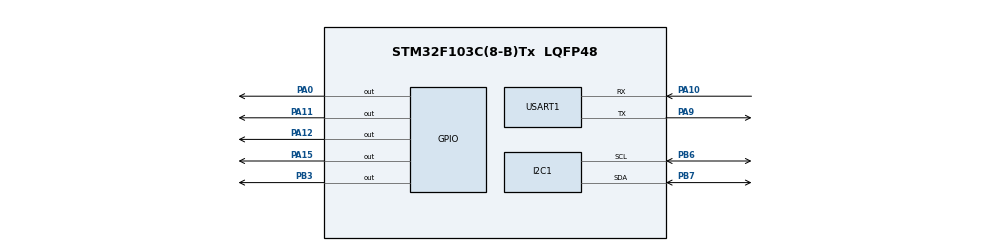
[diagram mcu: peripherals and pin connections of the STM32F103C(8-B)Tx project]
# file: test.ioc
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Dma.Request0=USART1_RX
Dma.USART1_RX.0.Direction=DMA_PERIPH_TO_MEMORY
Dma.USART1_RX.0.Instance=DMA1_Channel5
Dma.USART1_RX.0.MemDataAlignment=DMA_MDATAALIGN_BYTE
Dma.USART1_RX.0.MemInc=DMA_MINC_ENABLE
Dma.USART1_RX.0.Mode=DMA_NORMAL
Dma.USART1_RX.0.PeriphDataAlignment=DMA_PDATAALIGN_BYTE
Dma.USART1_RX.0.PeriphInc=DMA_PINC_DISABLE
Dma.USART1_RX.0.Priority=DMA_PRIORITY_LOW
Mcu.Family=STM32F1
Mcu.Name=STM32F103C(8-B)Tx
Mcu.Package=LQFP48
NVIC.DMA1_Channel5_IRQn=true\:0\:0\:false\:false\:true\:false\:true\:true
NVIC.PriorityGroup=NVIC_PRIORITYGROUP_4
NVIC.TIM2_IRQn=true\:0\:0\:false\:false\:true\:true\:true\:true
PA0-WKUP.Signal=GPIO_Output
PA10.Mode=Asynchronous
PA10.Signal=USART1_RX
PA11.Signal=GPIO_Output
PA12.Signal=GPIO_Output
PA15.Signal=GPIO_Output
PA9.Mode=Asynchronous
PA9.Signal=USART1_TX
PB3.Signal=GPIO_Output
PB6.Mode=I2C
PB6.Signal=I2C1_SCL
PB7.Mode=I2C
PB7.Signal=I2C1_SDA
ProjectManager.HeapSize=0x200
ProjectManager.StackSize=0x400
ProjectManager.TargetToolchain=MDK-ARM V5.32
RCC.APB1Freq_Value=8000000
RCC.APB2Freq_Value=8000000
TIM2.AutoReloadPreload=TIM_AUTORELOAD_PRELOAD_ENABLE
TIM2.Period=499
TIM2.Prescaler=7199
USART1.VirtualMode=VM_ASYNC
VP_SYS_VS_ND.Mode=No_Debug
VP_TIM2_VS_ClockSourceINT.Mode=Internal
board=custom

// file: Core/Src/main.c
/* USER CODE BEGIN Header */
/**
  ******************************************************************************
  * @file           : main.c
  * @brief          : Main program body
  ******************************************************************************
  * @attention
  *
  * Copyright (c) 2026 STMicroelectronics.
  * All rights reserved.
  *
  * This software is licensed under terms that can be found in the LICENSE file
  * in the root directory of this software component.
  * If no LICENSE file comes with this software, it is provided AS-IS.
  *
  ******************************************************************************
  */
/* USER CODE END Header */
#include "main.h"
#include "dma.h"
#include "i2c.h"
#include "tim.h"
#include "usart.h"
#include "gpio.h"

/* USER CODE BEGIN Includes */
#include "led.h"
#include "ring_buffer.h"       //FIFO
#include "frame_parser.h"      // 帧解析状态机
#include "crc16.h"             // CRC16-Modbus 计算
#include "sht30.h"
#include "modbus_slave.h"
/* USER CODE END Includes */

/* USER CODE BEGIN PV */
uint8_t rx_buf[256];                    //DMA 接收缓冲区
volatile uint8_t rx_idle_flag = 0;      //空闲中断触发标志
FrameParser_t my_parser;                //帧解析器,存储当前正在组装的一帧的临时数据
ring_buffer_t rx_rb;                    //FIFO中缓存DMA的元素
/* USER CODE END PV */

void SystemClock_Config(void);
/* USER CODE BEGIN PFP */
void MX_GPIO_Init(void);
void MX_DMA_Init(void);
void MX_USART1_UART_Init(void);

/* USER CODE END PFP */

int main(void)
{

  /* MCU Configuration--------------------------------------------------------*/

  /* Reset of all peripherals, Initializes the Flash interface and the Systick. */
  HAL_Init();

  /* Configure the system clock */
  SystemClock_Config();

  /* Initialize all configured peripherals */

  MX_GPIO_Init();
  MX_DMA_Init();
  MX_USART1_UART_Init();
  MX_TIM2_Init();
  MX_I2C1_Init();
  /* USER CODE BEGIN 2 */
	HAL_UART_Receive_DMA(&huart1, rx_buf, 256); // 启动 DMA 接收，缓冲区 rx_buf
	__HAL_UART_ENABLE_IT(&huart1, UART_IT_IDLE); //使能 USART1 空闲中断，检测一帧数据接收完毕
	HAL_NVIC_SetPriority(USART1_IRQn, 0, 0);    //中断优先级
	HAL_NVIC_EnableIRQ(USART1_IRQn);
	rb_init(&rx_rb);                       // 初始化FIFO
	parser_init(&my_parser);               // 初始化帧解析器
	HAL_TIM_Base_Start_IT(&htim2);         //启动 TIM2 定时器中断，接收数据时使能

	D1_OFF;
	D2_OFF;
	D3_OFF;
	D4_OFF;

	float temp = 0.0f, hum = 0.0f;
	uint8_t ret;

	ret = sht30_init();
	printf("SHT30 init: %d\r\n", ret);

	ret = sht30_read_single_shot(&temp, &hum);
	if (ret == 0) {
			printf("Temp: %.2f°C, Hum: %.2f%%\r\n", temp, hum);
	} else {
			printf("SHT30 read error: %d\r\n", ret);
	}

  /* USER CODE END 2 */

  /* Infinite loop */
  while (1)
  {

    /* USER CODE BEGIN 3 */

		if (rx_idle_flag == 1)
		{
				rx_idle_flag = 0;
				uint8_t byte;
				uint8_t tx_buf[64];
				uint8_t tx_len = 0;

				while (rb_get(&rx_rb, &byte) == 1)
				{
						if (parser_feed(&my_parser, byte) == true)
						{
								// 处理 Modbus 请求，构造响应帧
								modbus_process_request(&my_parser, tx_buf, &tx_len);

								// 如果有响应，发回给 Modbus Poll
								if (tx_len > 0) {
										HAL_UART_Transmit(&huart1, tx_buf, tx_len, 100);
								}
						}
				}
		}

		static uint32_t last_tick = 0;
  if (HAL_GetTick() - last_tick >= 1000) {
      last_tick = HAL_GetTick();
      float temp, hum;
      if (sht30_read_single_shot(&temp, &hum) == 0) {
          int16_t temp_int = (int16_t)(temp * 10);  // 30.86°C → 308
          holding_regs[0] = (temp_int >> 8) & 0xFF;  // 0x0000 = 温度高字节
          holding_regs[1] = temp_int & 0xFF;         // 0x0001 = 温度低字节
      }
  }

//		  if (rx_idle_flag == 1)
//    {
//        rx_idle_flag = 0;                 //清除标志，允许接收下一帧
//        uint8_t byte;

////				float temp, hum;
////				if (sht30_read_single_shot(&temp, &hum) == 0)
////				{
////						printf("Temp: %.2f C, Hum: %.2f %%\r\n", temp, hum);
////				}
////				HAL_Delay(1000);  // 每秒读一次
//
//
//        // 从环形缓冲区中取出所有字节，逐个喂给状态机
//        while (rb_get(&rx_rb, &byte) == 1)
//        {
//// parser_feed 返回 true 表示已组装完成一帧完整数据（地址+功能码+长度+数据+CRC）
//					if (parser_feed(&my_parser, byte) == true)
//						{
//								// 把收到的 CRC 组合为一个 16 位值
//								uint16_t rx_crc = ((uint16_t)my_parser.crc_high << 8) | my_parser.crc_low;

//								// 计算本帧 CRC
//								uint16_t calc_crc = crc16_modbus_frame(my_parser.addr, my_parser.func, my_parser.len, my_parser.data);

//								//调试打印
//								char dbg[64];
//								int n = sprintf(dbg, "RX_CRC=0x%04X  CALC=0x%04X\r\n", rx_crc, calc_crc);
//								HAL_UART_Transmit(&huart1, (uint8_t*)dbg, n, 100);

////								if (calc_crc == rx_crc)
////								{
////										HAL_UART_Transmit(&huart1, (uint8_t*)"Frame OK\r\n", 10, 100);
////								}
////								else
////								{
////										HAL_UART_Transmit(&huart1, (uint8_t*)"CRC ERR\r\n", 9, 100);
////								}
//						}
//

//        }
//    }

  }
  /* USER CODE END 3 */
}

void SystemClock_Config(void)
{
  RCC_OscInitTypeDef RCC_OscInitStruct = {0};
  RCC_ClkInitTypeDef RCC_ClkInitStruct = {0};

  /** Initializes the RCC Oscillators according to the specified parameters
  * in the RCC_OscInitTypeDef structure.
  */
  RCC_OscInitStruct.OscillatorType = RCC_OSCILLATORTYPE_HSI;
  RCC_OscInitStruct.HSIState = RCC_HSI_ON;
  RCC_OscInitStruct.HSICalibrationValue = RCC_HSICALIBRATION_DEFAULT;
  RCC_OscInitStruct.PLL.PLLState = RCC_PLL_NONE;
  if (HAL_RCC_OscConfig(&RCC_OscInitStruct) != HAL_OK)
  {
    Error_Handler();
  }

  /** Initializes the CPU, AHB and APB buses clocks
  */
  RCC_ClkInitStruct.ClockType = RCC_CLOCKTYPE_HCLK|RCC_CLOCKTYPE_SYSCLK
                              |RCC_CLOCKTYPE_PCLK1|RCC_CLOCKTYPE_PCLK2;
  RCC_ClkInitStruct.SYSCLKSource = RCC_SYSCLKSOURCE_HSI;
  RCC_ClkInitStruct.AHBCLKDivider = RCC_SYSCLK_DIV1;
  RCC_ClkInitStruct.APB1CLKDivider = RCC_HCLK_DIV1;
  RCC_ClkInitStruct.APB2CLKDivider = RCC_HCLK_DIV1;

  if (HAL_RCC_ClockConfig(&RCC_ClkInitStruct, FLASH_LATENCY_0) != HAL_OK)
  {
    Error_Handler();
  }
}

void Error_Handler(void)
{
  __disable_irq();
  while (1)
  {
  }
}
